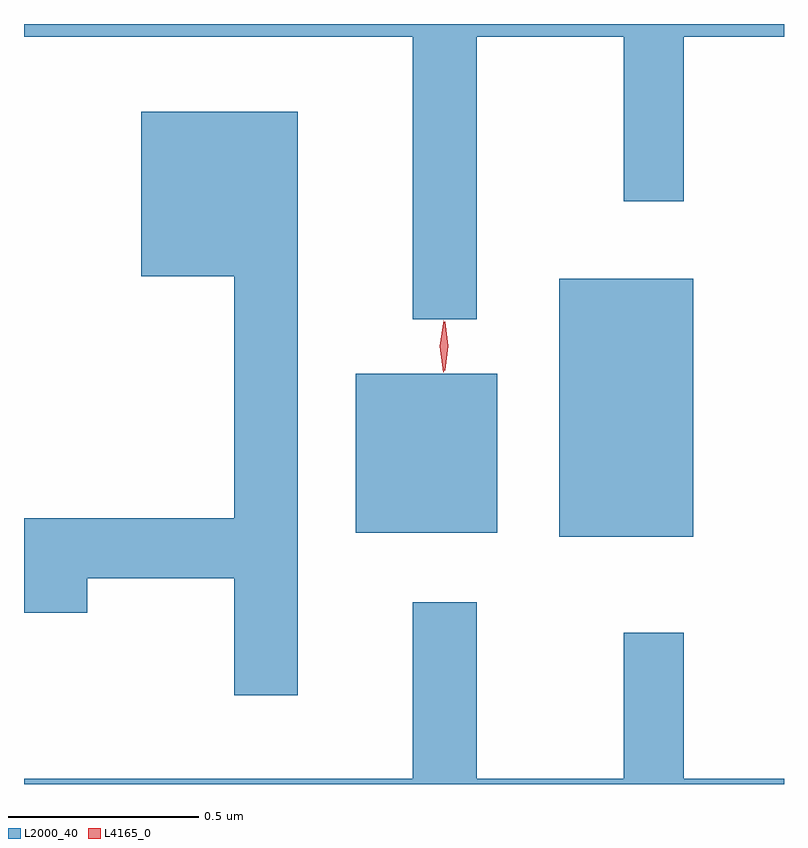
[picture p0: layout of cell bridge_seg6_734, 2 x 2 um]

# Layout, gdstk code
import gdstk
lib = gdstk.Library(unit=1e-6, precision=1e-09)
def R(c, l, rs):  # rectangles x0, y0, x1, y1
    for r in rs: c.add(gdstk.rectangle(r[:2], r[2:], *l))
def P(c, l, *ps):  # polygons
    for p in ps: c.add(gdstk.Polygon(p, *l))
L2000_40 = (2000, 40)
L4165_0 = (4165, 0)

bridge_seg6_734 = lib.new_cell('bridge_seg6_734')
R(bridge_seg6_734, L2000_40, [(240.076,1535.401,240.429,1536.079), (239.541,1535.411,239.914,1535.829)])
P(bridge_seg6_734, L2000_40, [(239.859,1536.716),(240.246,1536.716),(240.246,1536.283),(240.404,1536.283),(240.404,1536.716),(240.668,1536.716),(240.668,1536.75),(238.668,1536.75),(238.668,1536.716),(239.691,1536.716),(239.691,1535.973),(239.859,1535.973)],
  [(239.389,1536.519),(238.976,1536.519),(238.976,1536.086),(239.221,1536.086),(239.221,1535.449),(238.668,1535.449),(238.668,1535.201),(238.834,1535.201),(238.834,1535.291),(239.221,1535.291),(239.221,1534.983),(239.389,1534.983)],
  [(240.668,1534.764),(240.404,1534.764),(240.404,1535.148),(240.246,1535.148),(240.246,1534.764),(239.859,1534.764),(239.859,1535.228),(239.691,1535.228),(239.691,1534.764),(238.668,1534.764),(238.668,1534.75),(240.668,1534.75)])
P(bridge_seg6_734, L4165_0, [(239.775,1535.838),(239.775,1535.839),(239.765,1535.903),(239.775,1535.967),(239.775,1535.967),(239.776,1535.967),(239.785,1535.903),(239.776,1535.839)],
  [(239.771,1535.834),(239.771,1535.834),(239.762,1535.902),(239.772,1535.97),(239.773,1535.97),(239.773,1535.97),(239.782,1535.902),(239.772,1535.834)])

lib.write_gds('bridge_seg6_734.gds')
